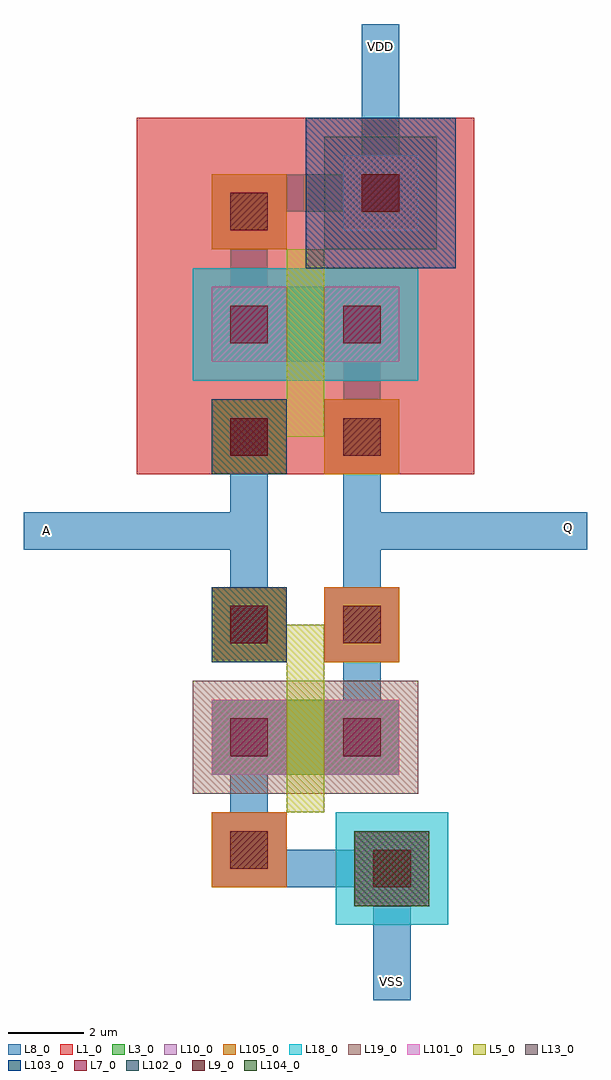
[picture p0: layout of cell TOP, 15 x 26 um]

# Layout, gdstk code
import gdstk
lib = gdstk.Library(unit=1e-6, precision=1e-07)
def R(c, l, rs):  # rectangles x0, y0, x1, y1
    for r in rs: c.add(gdstk.rectangle(r[:2], r[2:], *l))
L1_0 = (1, 0)
L3_0 = (3, 0)
L5_0 = (5, 0)
L7_0 = (7, 0)
L8_0 = (8, 0)
L9_0 = (9, 0)
L10_0 = (10, 0)
L13_0 = (13, 0)
L18_0 = (18, 0)
L19_0 = (19, 0)
L101_0 = (101, 0)
L102_0 = (102, 0)
L103_0 = (103, 0)
L104_0 = (104, 0)
L105_0 = (105, 0)

dcont = lib.new_cell('dcont')
R(dcont, L3_0, [(-1,-1,1,1)])
R(dcont, L7_0, [(-0.5,-0.5,0.5,0.5)])
R(dcont, L8_0, [(-1,-1,1,1)])
R(dcont, L13_0, [(-0.5,-0.5,0.5,0.5)])
R(dcont, L101_0, [(-1,-1,1,1)])

pcont = lib.new_cell('pcont')
R(pcont, L5_0, [(-1,-1,1,1)])
R(pcont, L7_0, [(-0.5,-0.5,0.5,0.5)])
R(pcont, L8_0, [(-1,-1,1,1)])
R(pcont, L13_0, [(-0.5,-0.5,0.5,0.5)])
R(pcont, L102_0, [(-1,-1,1,1)])

via = lib.new_cell('Via')
R(via, L8_0, [(-1,-1,1,1)])
R(via, L9_0, [(-0.5,-0.5,0.5,0.5)])
R(via, L10_0, [(-1,-1,1,1)])
R(via, L13_0, [(-0.5,-0.5,0.5,0.5)])
R(via, L105_0, [(-1,-1,1,1)])

dcont1 = lib.new_cell('dcont1')
R(dcont1, L3_0, [(-1,-1,1,1)])
R(dcont1, L7_0, [(-0.5,-0.5,0.5,0.5)])
R(dcont1, L8_0, [(-1,-1,1,1)])
R(dcont1, L13_0, [(-0.5,-0.5,0.5,0.5)])
R(dcont1, L101_0, [(-1,-1,1,1)])

nsubcont = lib.new_cell('nsubcont')
R(nsubcont, L1_0, [(-2,-2,2,2)])
R(nsubcont, L19_0, [(-1.5,-1.5,1.5,1.5)])
R(nsubcont, L103_0, [(-2,-2,2,2)])
nsubcont.add(gdstk.Reference(dcont1, (0,0)))

pch_1 = lib.new_cell('Pch$1')
R(pch_1, L1_0, [(-2,0,7,9.5)])
R(pch_1, L3_0, [(0,3,5,5)])
R(pch_1, L18_0, [(-0.5,2.5,5.5,5.5)])
pch_1.add(gdstk.FlexPath([(2.5,3),(2.5,5)], 1, ends=(1, 1), simple_path=True, layer=5, datatype=0))  # L5_0
pch_1.add(gdstk.FlexPath([(1,1.5),(2.5,1.5),(2.5,2)], 1, ends="flush", simple_path=True, layer=5, datatype=0))  # L5_0
pch_1.add(gdstk.FlexPath([(1,3),(1,5)], 2, ends="flush", simple_path=True, layer=8, datatype=0))  # L8_0
pch_1.add(gdstk.FlexPath([(4,3),(4,5)], 2, ends="flush", simple_path=True, layer=8, datatype=0))  # L8_0
pch_1.add(gdstk.FlexPath([(1,4),(1,7)], 1, ends="flush", simple_path=True, layer=8, datatype=0))  # L8_0
pch_1.add(gdstk.FlexPath([(4,1),(4,4)], 1, ends="flush", simple_path=True, layer=8, datatype=0))  # L8_0
pch_1.add(gdstk.Reference(dcont, (1,4)))
pch_1.add(gdstk.Reference(dcont, (4,4)))
pch_1.add(gdstk.Reference(pcont, (1,1)))
pch_1.add(gdstk.Reference(via, (1,1)))
pch_1.add(gdstk.Reference(via, (1,7)))
pch_1.add(gdstk.Reference(via, (4,1)))
pch_1.add(gdstk.Reference(nsubcont, (4.5,7.5)))
pch_1.add(gdstk.Reference(via, (4.5,7.5)))

psubcont = lib.new_cell('psubcont')
R(psubcont, L18_0, [(-1.5,-1.5,1.5,1.5)])
R(psubcont, L104_0, [(-1,-1,1,1)])
psubcont.add(gdstk.Reference(dcont1, (0,0)))

nch = lib.new_cell('Nch')
R(nch, L3_0, [(0,3,5,5)])
R(nch, L19_0, [(-0.5,2.5,5.5,5.5)])
nch.add(gdstk.FlexPath([(2.5,3),(2.5,5)], 1, ends=(1, 1), simple_path=True, layer=5, datatype=0))  # L5_0
nch.add(gdstk.FlexPath([(1,6.5),(2.5,6.5),(2.5,6)], 1, ends="flush", simple_path=True, layer=5, datatype=0))  # L5_0
nch.add(gdstk.FlexPath([(1,3),(1,5)], 2, ends="flush", simple_path=True, layer=8, datatype=0))  # L8_0
nch.add(gdstk.FlexPath([(4,3),(4,5)], 2, ends="flush", simple_path=True, layer=8, datatype=0))  # L8_0
nch.add(gdstk.FlexPath([(1,1),(1,4)], 1, ends="flush", simple_path=True, layer=8, datatype=0))  # L8_0
nch.add(gdstk.FlexPath([(4,4),(4,7)], 1, ends="flush", simple_path=True, layer=8, datatype=0))  # L8_0
nch.add(gdstk.Reference(dcont, (1,4)))
nch.add(gdstk.Reference(dcont, (4,4)))
nch.add(gdstk.Reference(pcont, (1,7)))
nch.add(gdstk.Reference(via, (1,7)))
nch.add(gdstk.Reference(via, (1,1)))
nch.add(gdstk.Reference(via, (4,7)))
nch.add(gdstk.Reference(psubcont, (4.8,0.5)))
nch.add(gdstk.Reference(via, (4.8,0.5)))

top = lib.new_cell('TOP')
top.add(gdstk.FlexPath([(4,3),(4,-2)], 1, ends="flush", simple_path=True, layer=8, datatype=0))  # L8_0
top.add(gdstk.FlexPath([(7,3),(7,-2)], 1, ends="flush", simple_path=True, layer=8, datatype=0))  # L8_0
top.add(gdstk.FlexPath([(4,-8),(4,-8.5),(7.8,-8.5),(7.8,-12),(7.8,-12)], 1, ends="flush", simple_path=True, layer=8, datatype=0))  # L8_0
top.add(gdstk.FlexPath([(4,9),(4,9.5),(7.5,9.5),(7.5,14)], 1, ends="flush", simple_path=True, layer=8, datatype=0))  # L8_0
top.add(gdstk.FlexPath([(7,0.5),(13,0.5)], 1, ends="flush", simple_path=True, layer=8, datatype=0))  # L8_0
top.add(gdstk.FlexPath([(4,0.5),(-2,0.5)], 1, ends="flush", simple_path=True, layer=8, datatype=0))  # L8_0
top.add(gdstk.Reference(pch_1, (3,2)))
top.add(gdstk.Reference(nch, (3,-9)))
top.add(gdstk.Label('VDD', (7.5,13.4), layer=8, texttype=0))
top.add(gdstk.Label('A', (-1.4,0.5), layer=8, texttype=0))
top.add(gdstk.Label('Q', (12.5,0.6), layer=8, texttype=0))
top.add(gdstk.Label('VSS', (7.8,-11.5), layer=8, texttype=0))

lib.write_gds('TOP.gds')
